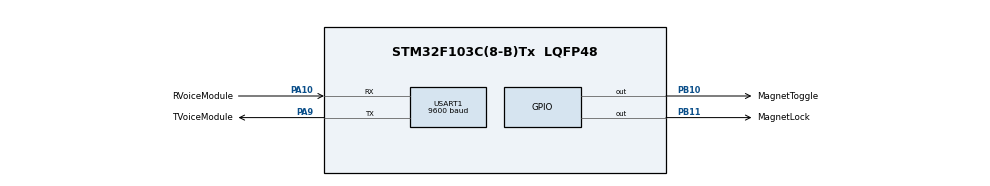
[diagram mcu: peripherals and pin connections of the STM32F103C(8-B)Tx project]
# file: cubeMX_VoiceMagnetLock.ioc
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Mcu.Family=STM32F1
Mcu.Name=STM32F103C(8-B)Tx
Mcu.Package=LQFP48
NVIC.PriorityGroup=NVIC_PRIORITYGROUP_4
NVIC.USART1_IRQn=true\:0\:0\:false\:false\:true\:true\:true
PA10.GPIO_Label=RVoiceModule
PA10.Mode=Asynchronous
PA10.Signal=USART1_RX
PA9.GPIO_Label=TVoiceModule
PA9.Mode=Asynchronous
PA9.Signal=USART1_TX
PB10.GPIO_Label=MagnetToggle
PB10.GPIO_PuPd=GPIO_PULLUP
PB10.GPIO_Speed=GPIO_SPEED_FREQ_HIGH
PB10.PinState=GPIO_PIN_SET
PB10.Signal=GPIO_Output
PB11.GPIO_Label=MagnetLock
PB11.GPIO_PuPd=GPIO_PULLUP
PB11.GPIO_Speed=GPIO_SPEED_FREQ_HIGH
PB11.PinState=GPIO_PIN_SET
PB11.Signal=GPIO_Output
PD0-OSC_IN.Mode=HSE-External-Oscillator
PD0-OSC_IN.Signal=RCC_OSC_IN
PD1-OSC_OUT.Mode=HSE-External-Oscillator
PD1-OSC_OUT.Signal=RCC_OSC_OUT
ProjectManager.HeapSize=0x200
ProjectManager.StackSize=0x400
ProjectManager.TargetToolchain=Makefile
RCC.APB1Freq_Value=8000000
RCC.APB2Freq_Value=8000000
USART1.BaudRate=9600
USART1.VirtualMode=VM_ASYNC
VP_SYS_VS_ND.Mode=No_Debug
board=custom

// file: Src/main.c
/* USER CODE BEGIN Header */
/**
  ******************************************************************************
  * @file           : main.c
  * @brief          : Main program body
  ******************************************************************************
  * @attention
  *
  * <h2><center>&copy; Copyright (c) 2019 STMicroelectronics.
  * All rights reserved.</center></h2>
  *
  * This software component is licensed by ST under BSD 3-Clause license,
  * the "License"; You may not use this file except in compliance with the
  * License. You may obtain a copy of the License at:
  *                        opensource.org/licenses/BSD-3-Clause
  *
  ******************************************************************************
  */
/* USER CODE END Header */

#include "main.h"
#include "usart.h"
#include "gpio.h"

/* USER CODE BEGIN PD */
uint8_t rData[6];
uint8_t tData1[] = "This is a test message from stm32:\n\r";
uint8_t endline[] = "\n\r";
uint8_t a = 0;
uint8_t a_str[10];

#define ON 0x1
#define OFF 0xf
/* USER CODE END PD */

void SystemClock_Config(void);

/* USER CODE BEGIN 0 */
int fputc(int ch,FILE *f)
{
  //while(HAL_UART_GetState(&huart1) == HAL_UART_STATE_BUSY_TX);
  HAL_UART_Transmit(&huart1,(uint8_t *)&ch,1,0xFFFF);
  return ch;
}

int fgetc(FILE *f)
{
  uint8_t ch = 0;
  HAL_UART_Receive(&huart1, &ch, 1, 0xffff);
  return ch;
}

void SwitchOn(GPIO_TypeDef* LedPort, uint16_t LedPin)
{
  HAL_GPIO_WritePin(LedPort,LedPin,1);
}

void SwitchOff(GPIO_TypeDef* LedPort, uint16_t LedPin)
{
  HAL_GPIO_WritePin(LedPort,LedPin,0);
}

void LockOn()
{
  SwitchOn(MagnetLock_GPIO_Port, MagnetLock_Pin);
  //SwitchOn(MagnetLock_GPIO_Port, MagnetLock_Pin);
  //SwitchOff(Magnet2_GPIO_Port, Magnet2_Pin);
}

void LockOff()
{
  SwitchOff(MagnetLock_GPIO_Port, MagnetLock_Pin);
  //SwitchOff(MagnetLock_GPIO_Port, MagnetLock_Pin);
  //SwitchOff(Magnet2_GPIO_Port, Magnet2_Pin);
}

void Toggle()
{
  while(1){
    SwitchOn(MagnetToggle_GPIO_Port, MagnetToggle_Pin);
    HAL_Delay(1000);
    SwitchOff(MagnetToggle_GPIO_Port, MagnetToggle_Pin);
    HAL_Delay(1000);
  }
}

void endLine()
{
  HAL_UART_Transmit(&huart1, endline, sizeof(endline), 1000);
  while(HAL_UART_GetState(&huart1) == HAL_UART_STATE_BUSY_TX);
}
/* USER CODE END 0 */

int main(void)
{

  /* MCU Configuration--------------------------------------------------------*/

  /* Reset of all peripherals, Initializes the Flash interface and the Systick. */
  HAL_Init();

  /* Configure the system clock */
  SystemClock_Config();

  /* Initialize all configured peripherals */
  MX_GPIO_Init();
  MX_USART1_UART_Init();

  /* Infinite loop */
  while (1)
  {

    /* USER CODE BEGIN 3 */
    HAL_UART_Receive(&huart1, rData, sizeof(rData), 1000);
    while(HAL_UART_GetState(&huart1) == HAL_UART_STATE_BUSY_RX);

    if(rData[0] == 'U')LockOff();
    else if(rData[0] == 'L')LockOn();
    //Toggle();

  }
  /* USER CODE END 3 */
}

void SystemClock_Config(void)
{
  RCC_OscInitTypeDef RCC_OscInitStruct = {0};
  RCC_ClkInitTypeDef RCC_ClkInitStruct = {0};

  /** Initializes the CPU, AHB and APB busses clocks
  */
  RCC_OscInitStruct.OscillatorType = RCC_OSCILLATORTYPE_HSI;
  RCC_OscInitStruct.HSIState = RCC_HSI_ON;
  RCC_OscInitStruct.HSICalibrationValue = RCC_HSICALIBRATION_DEFAULT;
  RCC_OscInitStruct.PLL.PLLState = RCC_PLL_NONE;
  if (HAL_RCC_OscConfig(&RCC_OscInitStruct) != HAL_OK)
  {
    Error_Handler();
  }
  /** Initializes the CPU, AHB and APB busses clocks
  */
  RCC_ClkInitStruct.ClockType = RCC_CLOCKTYPE_HCLK|RCC_CLOCKTYPE_SYSCLK
                              |RCC_CLOCKTYPE_PCLK1|RCC_CLOCKTYPE_PCLK2;
  RCC_ClkInitStruct.SYSCLKSource = RCC_SYSCLKSOURCE_HSI;
  RCC_ClkInitStruct.AHBCLKDivider = RCC_SYSCLK_DIV1;
  RCC_ClkInitStruct.APB1CLKDivider = RCC_HCLK_DIV1;
  RCC_ClkInitStruct.APB2CLKDivider = RCC_HCLK_DIV1;

  if (HAL_RCC_ClockConfig(&RCC_ClkInitStruct, FLASH_LATENCY_0) != HAL_OK)
  {
    Error_Handler();
  }
}

void Error_Handler(void)
{
}

/************************ (C) COPYRIGHT STMicroelectronics *****END OF FILE****/
